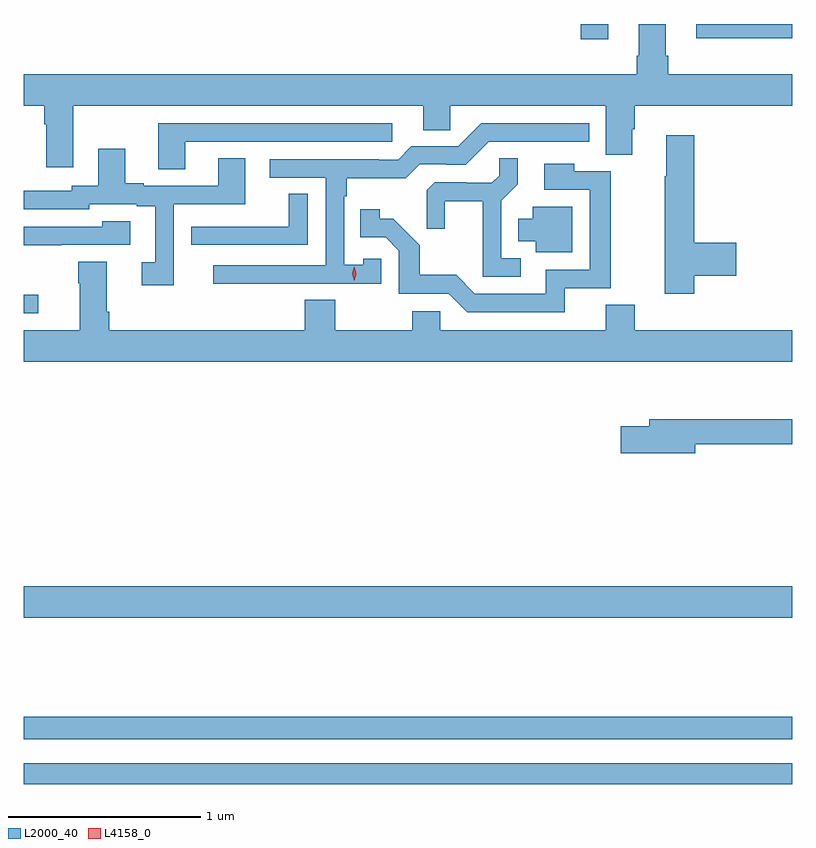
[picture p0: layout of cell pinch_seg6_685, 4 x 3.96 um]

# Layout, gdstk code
import gdstk
lib = gdstk.Library(unit=1e-6, precision=1e-09)
def R(c, l, rs):  # rectangles x0, y0, x1, y1
    for r in rs: c.add(gdstk.rectangle(r[:2], r[2:], *l))
def P(c, l, *ps):  # polygons
    for p in ps: c.add(gdstk.Polygon(p, *l))
L2000_40 = (2000, 40)
L4158_0 = (4158, 0)

pinch_seg6_685 = lib.new_cell('pinch_seg6_685')
R(pinch_seg6_685, L2000_40, [(433.513,937.146,437.513,937.254), (433.513,937.38,437.513,937.496), (433.513,938.012,437.513,938.176), (433.513,939.597,433.588,939.693), (436.413,941.022,436.555,941.101)])
P(pinch_seg6_685, L2000_40, [(433.771,940.676),(435.593,940.676),(435.593,940.549),(435.732,940.549),(435.732,940.676),(436.541,940.676),(436.541,940.42),(436.681,940.42),(436.681,940.554),(436.694,940.554),(436.694,940.676),(437.513,940.676),(437.513,940.84),(436.868,940.84),(436.868,940.936),(436.855,940.936),(436.855,941.101),(436.715,941.101),(436.715,940.936),(436.703,940.936),(436.703,940.84),(433.513,940.84),(433.513,940.676),(433.619,940.676),(433.619,940.58),(433.631,940.58),(433.631,940.356),(433.771,940.356)],
  [(437.477,941.028),(437.513,941.028),(437.513,941.101),(437.012,941.101),(437.012,941.027),(437.477,941.027)],
  [(434.353,940.488),(435.43,940.488),(435.43,940.584),(434.213,940.584),(434.213,940.345),(434.353,940.345)],
  [(434.891,939.75),(435.375,939.75),(435.375,939.879),(435.279,939.879),(435.279,939.847),(435.18,939.847),(435.18,940.205),(435.193,940.205),(435.193,940.298),(435.5,940.298),(435.573,940.371),(435.712,940.371),(435.712,940.368),(435.813,940.368),(435.933,940.488),(436.456,940.488),(436.456,940.584),(435.894,940.584),(435.774,940.464),(435.531,940.464),(435.462,940.395),(435.362,940.395),(435.362,940.398),(434.793,940.398),(434.793,940.302),(435.084,940.302),(435.084,939.846),(434.499,939.846),(434.499,939.748),(434.891,939.748)],
  [(437.003,939.791),(437.221,939.791),(437.221,939.962),(437.003,939.962),(437.003,940.522),(436.856,940.522),(436.856,940.309),(436.849,940.309),(436.849,939.696),(437.003,939.696)],
  [(434.295,940.164),(434.665,940.164),(434.665,940.403),(434.525,940.403),(434.525,940.26),(434.137,940.26),(434.137,940.273),(434.041,940.273),(434.041,940.453),(433.901,940.453),(433.901,940.26),(433.764,940.26),(433.764,940.233),(433.513,940.233),(433.513,940.137),(433.854,940.137),(433.854,940.164),(434.102,940.164),(434.102,940.152),(434.198,940.152),(434.198,939.861),(434.127,939.861),(434.127,939.741),(434.295,939.741)],
  [(436.099,939.882),(435.999,939.882),(435.999,940.181),(436.085,940.267),(436.085,940.403),(435.987,940.403),(435.987,940.312),(435.95,940.275),(435.816,940.275),(435.816,940.278),(435.651,940.278),(435.61,940.237),(435.61,940.035),(435.704,940.035),(435.704,940.178),(435.902,940.178),(435.902,939.786),(436.099,939.786)],
  [(436.328,939.726),(436.567,939.726),(436.567,940.335),(436.377,940.335),(436.377,940.375),(436.221,940.375),(436.221,940.239),(436.458,940.239),(436.458,939.822),(436.229,939.822),(436.229,939.696),(435.861,939.696),(435.763,939.795),(435.574,939.795),(435.574,939.95),(435.436,940.088),(435.366,940.088),(435.366,940.138),(435.265,940.138),(435.265,939.99),(435.396,939.99),(435.465,939.921),(435.465,939.696),(435.726,939.696),(435.822,939.6),(436.328,939.6)],
  [(434.991,940.217),(434.893,940.217),(434.893,940.047),(434.497,940.047),(434.497,940.046),(434.385,940.046),(434.385,939.951),(434.991,939.951)],
  [(436.369,940.15),(436.163,940.15),(436.163,940.087),(436.088,940.087),(436.088,939.971),(436.178,939.971),(436.178,939.914),(436.369,939.914)],
  [(433.709,939.951),(434.068,939.951),(434.068,940.075),(433.923,940.075),(433.923,940.047),(433.513,940.047),(433.513,939.949),(433.709,939.949)],
  [(437.513,939.508),(436.694,939.508),(436.694,939.641),(436.541,939.641),(436.541,939.508),(435.681,939.508),(435.681,939.606),(435.535,939.606),(435.535,939.508),(435.135,939.508),(435.135,939.665),(434.975,939.665),(434.975,939.508),(433.958,939.508),(433.958,939.604),(433.945,939.604),(433.945,939.865),(433.798,939.865),(433.798,939.752),(433.805,939.752),(433.805,939.508),(433.513,939.508),(433.513,939.344),(437.513,939.344)],
  [(437.008,938.914),(437.513,938.914),(437.513,939.043),(436.769,939.043),(436.769,939.009),(436.62,939.009),(436.62,938.867),(437.008,938.867)])
P(pinch_seg6_685, L4158_0, [(435.234,939.765),(435.234,939.765),(435.223,939.801),(435.232,939.837),(435.232,939.837),(435.232,939.837),(435.243,939.801),(435.234,939.765)])

lib.write_gds('pinch_seg6_685.gds')
